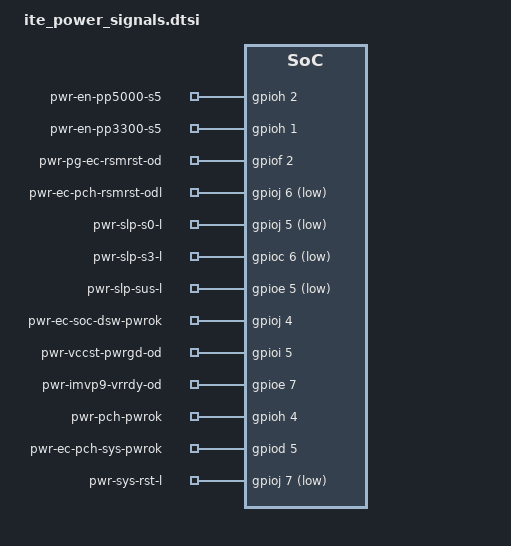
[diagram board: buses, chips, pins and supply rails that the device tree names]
/* Copyright 2025 The ChromiumOS Authors
 * Use of this source code is governed by a BSD-style license that can be
 * found in the LICENSE file.
 */

/ {
	chosen {
		intel-ap-pwrseq,espi = &espi0;
	};

	common-pwrseq {
		compatible = "intel,ap-pwrseq";

		sys-pwrok-delay = <10>;
		all-sys-pwrgd-timeout = <20>;
	};

	pwr-en-pp5000-s5 {
		compatible = "intel,ap-pwrseq-gpio";
		dbg-label = "PP5000_S5 enable output to regulator";
		enum-name = "PWR_EN_PP5000_A";
		gpios = <&gpioh 2 0>;
		output;
	};
	pwr-en-pp3300-s5 {
		compatible = "intel,ap-pwrseq-gpio";
		dbg-label = "PP3300_S5 enable output to LS";
		enum-name = "PWR_EN_PP3300_A";
		gpios = <&gpioh 1 0>;
		output;
	};
	pwr-pg-ec-rsmrst-od {
		compatible = "intel,ap-pwrseq-gpio";
		dbg-label = "RSMRST power good from regulator";
		enum-name = "PWR_RSMRST_PWRGD";
		gpios = <&gpiof 2 0>;
		interrupt-flags = <GPIO_INT_EDGE_BOTH>;
	};
	pwr-ec-pch-rsmrst-odl {
		compatible = "intel,ap-pwrseq-gpio";
		dbg-label = "RSMRST output to PCH";
		enum-name = "PWR_EC_PCH_RSMRST";
		gpios = <&gpioj 6 GPIO_ACTIVE_LOW>;
		reset-val = <1>;
		output;
	};
	pwr-slp-s0-l {
		compatible = "intel,ap-pwrseq-gpio";
		dbg-label = "SLP_S0_L input from PCH";
		enum-name = "PWR_SLP_S0";
		gpios = <&gpioj 5 GPIO_ACTIVE_LOW>;
		interrupt-flags = <GPIO_INT_EDGE_BOTH>;
	};
	pwr-slp-s3-l {
		compatible = "intel,ap-pwrseq-gpio";
		dbg-label = "SLP_S3_L input from PCH";
		enum-name = "PWR_SLP_S3";
		gpios = <&gpioc 6 GPIO_ACTIVE_LOW>;
		interrupt-flags = <GPIO_INT_EDGE_BOTH>;
	};
	pwr-slp-sus-l {
		compatible = "intel,ap-pwrseq-gpio";
		dbg-label = "SLP_SUS_L input from PCH";
		enum-name = "PWR_SLP_SUS";
		gpios = <&gpioe 5 GPIO_ACTIVE_LOW>;
		interrupt-flags = <GPIO_INT_EDGE_BOTH>;
	};
	pwr-ec-soc-dsw-pwrok {
		compatible = "intel,ap-pwrseq-gpio";
		dbg-label = "DSW_PWROK output to PCH";
		enum-name = "PWR_EC_SOC_DSW_PWROK";
		gpios = <&gpioj 4 0>;
		output;
	};
	pwr-vccst-pwrgd-od {
		compatible = "intel,ap-pwrseq-gpio";
		dbg-label = "VCCST_PWRGD output to PCH";
		enum-name = "PWR_VCCST_PWRGD";
		gpios = <&gpioi 5 GPIO_OPEN_DRAIN>;
		output;
	};
	pwr-imvp9-vrrdy-od {
		compatible = "intel,ap-pwrseq-gpio";
		dbg-label = "VRRDY input from IMVP9";
		enum-name = "PWR_IMVP9_VRRDY";
		gpios = <&gpioe 7 0>;
	};
	pwr-pch-pwrok {
		compatible = "intel,ap-pwrseq-gpio";
		dbg-label = "PCH_PWROK output to PCH";
		enum-name = "PWR_PCH_PWROK";
		gpios = <&gpioh 4 GPIO_OPEN_DRAIN>;
		output;
	};
	pwr-ec-pch-sys-pwrok {
		compatible = "intel,ap-pwrseq-gpio";
		dbg-label = "SYS_PWROK output to PCH";
		enum-name = "PWR_EC_PCH_SYS_PWROK";
		gpios = <&gpiod 5 0>;
		output;
	};
	pwr-sys-rst-l {
		compatible = "intel,ap-pwrseq-gpio";
		dbg-label = "SYS_RESET# output to PCH";
		enum-name = "PWR_SYS_RST";
		gpios = <&gpioj 7 (GPIO_ACTIVE_LOW|GPIO_OPEN_DRAIN)>;
		output;
	};
	pwr-slp-s4 {
		compatible = "intel,ap-pwrseq-vw";
		dbg-label = "SLP_S4 virtual wire input from PCH";
		enum-name = "PWR_SLP_S4";
		virtual-wire = "ESPI_VWIRE_SIGNAL_SLP_S4";
		reset-val = <1>;
		vw-invert;
	};
	pwr-slp-s5 {
		compatible = "intel,ap-pwrseq-vw";
		dbg-label = "SLP_S5 virtual wire input from PCH";
		enum-name = "PWR_SLP_S5";
		virtual-wire = "ESPI_VWIRE_SIGNAL_SLP_S5";
		reset-val = <1>;
		vw-invert;
	};
	pwr-all-sys-pwrgd {
		compatible = "intel,ap-pwrseq-external";
		dbg-label = "Combined all power good";
		enum-name = "PWR_ALL_SYS_PWRGD";
	};
/*
*	pwr-adc-pp3300 {
*		compatible = "intel,ap-pwrseq-adc";
*		dbg-label = "PP3300 PWROK (from ADC)";
*		enum-name = "PWR_DSW_PWROK";
*		trigger-high = <&cmp_pp3300_s5_high>;
*		trigger-low = <&cmp_pp3300_s5_low>;
*	};
*	pwr-adc-pp1p05 {
*		compatible = "intel,ap-pwrseq-adc";
*		dbg-label = "PP1P05 PWROK (from ADC)";
*		enum-name = "PWR_PG_PP1P05";
*		trigger-high = <&cmp_pp1p05_high>;
*		trigger-low = <&cmp_pp1p05_low>;
*	};
*/
	pwr-dsw-pwrok {
		/*
		*	need modify 
		*/
		compatible = "intel,ap-pwrseq-external";
		dbg-label = "Main rails power good";
		enum-name = "PWR_DSW_PWROK";
	};
	pwr-pg_pp1p50 {
		/*
		*	need modify 
		*/
		compatible = "intel,ap-pwrseq-external";
		dbg-label = "Main rails power good";
		enum-name = "PWR_PG_PP1P05";
	};
};

/*
 * Because the power signals directly reference the GPIOs,
 * the correspinding named-gpios need to have no-auto-init set.
 */
&gpio_ec_soc_dsw_pwrok {
	no-auto-init;
};
&gpio_ec_soc_pch_pwrok_od {
	no-auto-init;
};
&gpio_ec_soc_rsmrst_l {
	no-auto-init;
};
&gpio_ec_soc_sys_pwrok {
	no-auto-init;
};
&gpio_ec_soc_vccst_pwrgd_od {
	no-auto-init;
};
&gpio_en_pp3300_s5 {
	no-auto-init;
};
&gpio_en_pp5000_s5 {
	no-auto-init;
};
&gpio_imvp91_vrrdy_r_od {
	no-auto-init;
};
&gpio_rsmrst_pwrgd_l {
	no-auto-init;
};
&gpio_slp_s0_l {
	no-auto-init;
};
&gpio_slp_s3_l {
	no-auto-init;
};
&gpio_slp_s4_l {
	no-auto-init;
};
&gpio_slp_sus_l {
	no-auto-init;
};
&gpio_sys_rst_odl {
	no-auto-init;
};
